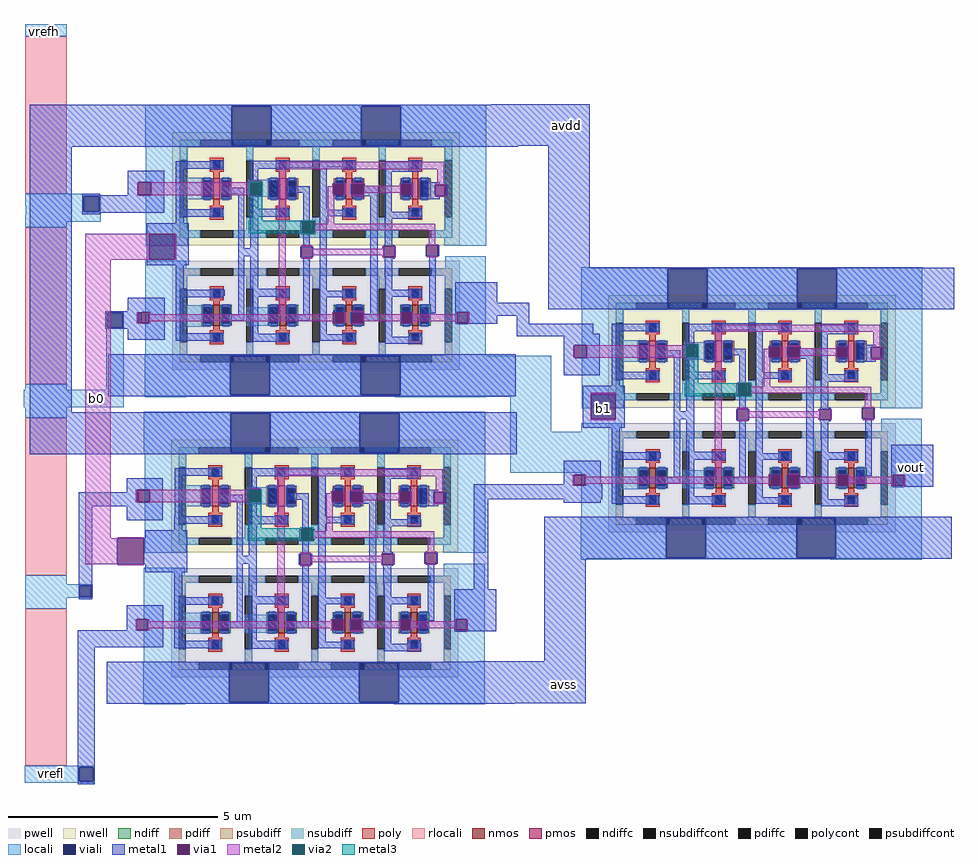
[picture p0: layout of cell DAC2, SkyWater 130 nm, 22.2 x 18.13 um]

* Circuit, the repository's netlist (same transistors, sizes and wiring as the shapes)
* NGSPICE file created from DAC2.ext - technology: sky130A

.subckt sky130_fd_pr__nfet_01v8_PHAC7Z B D S G
X0 S G D B sky130_fd_pr__nfet_01v8 ad=0.145 pd=1.58 as=0.145 ps=1.58 w=0.5 l=0.15
.ends

.subckt sky130_fd_pr__pfet_01v8_2H7JD5 B D S G
X0 S G D B sky130_fd_pr__pfet_01v8 ad=0.145 pd=1.58 as=0.145 ps=1.58 w=0.5 l=0.15
.ends

.subckt sw b_in vin1 vout vin2 avdd avss
XXM1 avss avss XM6/G b_in sky130_fd_pr__nfet_01v8_PHAC7Z
XXM2 avdd avdd XM6/G b_in sky130_fd_pr__pfet_01v8_2H7JD5
XXM3 avss avss XM8/G XM6/G sky130_fd_pr__nfet_01v8_PHAC7Z
XXM4 avdd avdd XM8/G XM6/G sky130_fd_pr__pfet_01v8_2H7JD5
XXM5 avdd vin1 vout XM6/G sky130_fd_pr__pfet_01v8_2H7JD5
XXM6 avss vin2 vout XM6/G sky130_fd_pr__nfet_01v8_PHAC7Z
XXM7 avss vout vin1 XM8/G sky130_fd_pr__nfet_01v8_PHAC7Z
XXM8 avdd vout vin2 XM8/G sky130_fd_pr__pfet_01v8_2H7JD5
.ends

.subckt sky130_fd_pr__res_generic_l1_BU56D2 R1_0 R2_0 R1_1 R2_1 R1_2 R2_2 R1_3 R2_3
R0 R1_1 R2_1 sky130_fd_pr__res_generic_l1 w=1 l=3.75
R1 R1_3 R2_3 sky130_fd_pr__res_generic_l1 w=1 l=3.75
R2 R1_0 R2_0 sky130_fd_pr__res_generic_l1 w=1 l=3.75
R3 R1_2 R2_2 sky130_fd_pr__res_generic_l1 w=1 l=3.75
.ends

.subckt DAC2 avdd avss b0 b1 vrefh vrefl vout
Xsw_1 b0 sw_1/vin1 sw_2/vin1 sw_1/vin2 avdd avss sw
Xsw_2 b1 sw_2/vin1 vout sw_2/vin2 avdd avss sw
Xsky130_fd_pr__res_generic_l1_BU56D2_0 sw_0/vin1 vrefl sw_1/vin2 sw_0/vin1 sw_1/vin1
+ sw_1/vin2 vrefh sw_1/vin1 sky130_fd_pr__res_generic_l1_BU56D2
Xsw_0 b0 sw_0/vin1 sw_2/vin2 vrefl avdd avss sw
.ends

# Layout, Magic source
magic
tech sky130A
magscale 1 2
<< locali >>
rect -390 3190 -190 3246
rect -195 2430 -110 2436
rect -195 2424 -30 2430
rect -195 2388 -110 2424
rect -386 2351 -110 2388
rect -37 2351 -30 2424
rect -386 2303 -30 2351
rect -115 2302 -30 2303
rect -2 1869 82 1875
rect -2 1797 4 1869
rect 76 1797 82 1869
rect -2 1502 82 1797
rect -396 1418 82 1502
rect 1635 1468 2120 1663
rect 1925 1300 2120 1468
rect 1925 1105 2458 1300
rect -388 567 -68 573
rect -388 514 -128 567
rect -75 514 -68 567
rect -388 508 -68 514
rect -392 -300 -58 -294
rect -392 -368 -132 -300
rect -64 -368 -58 -300
rect -392 -374 -58 -368
<< viali >>
rect -110 2351 -37 2424
rect 4 1797 76 1869
rect -128 514 -75 567
rect -132 -368 -64 -300
<< metal1 >>
rect -368 2660 92 2860
rect 1834 2664 2305 2864
rect -368 1394 -168 2660
rect -116 2430 -31 2436
rect -116 2424 186 2430
rect -116 2351 -110 2424
rect -37 2351 186 2424
rect -116 2345 186 2351
rect -116 2339 -31 2345
rect 202 2245 325 2251
rect 202 2116 325 2122
rect -8 1869 167 1875
rect -8 1797 4 1869
rect 76 1797 167 1869
rect 1763 1855 2016 1916
rect 2105 1884 2305 2664
rect -8 1791 167 1797
rect 1955 1817 2016 1855
rect 1955 1756 2322 1817
rect -368 1194 219 1394
rect -134 946 153 1011
rect 1750 979 2365 1049
rect 3746 1042 3942 1238
rect -134 567 -69 946
rect 47 669 53 792
rect 176 669 346 792
rect -134 514 -128 567
rect -75 514 -69 567
rect -134 502 -69 514
rect 1750 442 1820 979
rect -138 273 175 353
rect -138 -300 -58 273
rect 2086 206 2286 894
rect 1762 6 2286 206
rect -138 -368 -132 -300
rect -64 -368 -58 -300
rect -138 -380 -58 -368
<< via1 >>
rect 202 2122 325 2245
rect 2310 1361 2429 1480
rect 53 669 176 792
<< metal2 >>
rect -103 2122 202 2245
rect 325 2122 331 2245
rect -103 792 20 2122
rect 2310 1480 2429 1486
rect 2310 1355 2429 1361
rect 53 792 176 798
rect -103 669 53 792
rect 53 663 176 669
use sky130_fd_pr__res_generic_l1_BU56D2  sky130_fd_pr__res_generic_l1_BU56D2_0
transform 1 0 -290 0 1 1447
box -100 -1797 100 1797
use sw  sw_0
transform 1 0 -703 0 1 1271
box 703 -1271 2660 124
use sw  sw_1
transform 1 0 -697 0 1 2737
box 703 -1271 2660 124
use sw  sw_2
transform 1 0 1383 0 1 1961
box 703 -1271 2660 124
<< labels >>
flabel metal1 s 2194 2760 2194 2760 0 FreeSans 800 0 0 0 avdd
port 0 nsew
flabel metal1 s 2180 94 2180 94 0 FreeSans 800 0 0 0 avss
port 1 nsew
flabel metal2 s -50 1460 -50 1460 0 FreeSans 800 0 0 0 b0
port 2 nsew
flabel via1 2370 1410 2370 1410 0 FreeSans 800 0 0 0 b1
port 3 nsew
flabel locali s -298 3212 -298 3212 0 FreeSans 800 0 0 0 vrefh
port 4 nsew
flabel locali s -270 -330 -270 -330 0 FreeSans 800 0 0 0 vrefl
port 5 nsew
flabel metal1 s 3838 1130 3838 1130 0 FreeSans 1600 0 0 0 vout
port 6 nsew
<< end >>

# cell sky130_fd_pr__res_generic_l1_BU56D2: kit device sky130_fd_pr__res_generic_l1, w 1.0 l 3.75 m 4 nx 1 wmin 0.17 lmin 0.17 class resistor rho 12.8 val 48.0 dummy 0 dw 0.0 term 0.0 snake 0 roverlap 0 doports 1

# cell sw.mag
magic
tech sky130A
magscale 1 2
<< locali >>
rect 880 117 2508 124
rect 880 -71 1294 117
rect 1482 -71 1911 117
rect 2099 -71 2508 117
rect 880 -78 2508 -71
rect 883 -225 1083 -78
rect 883 -327 1194 -225
rect 1372 -316 1505 -234
rect 883 -548 1083 -327
rect 2308 -548 2508 -78
rect 880 -833 1075 -620
rect 880 -935 1191 -833
rect 1364 -930 1512 -843
rect 880 -1068 1075 -935
rect 1255 -1068 2102 -1067
rect 2311 -1068 2506 -599
rect 878 -1073 2506 -1068
rect 878 -1261 1287 -1073
rect 1475 -1261 1908 -1073
rect 2096 -1261 2506 -1073
rect 878 -1269 2506 -1261
rect 880 -1271 1075 -1269
rect 2072 -1271 2506 -1269
<< viali >>
rect 1294 -71 1482 117
rect 1911 -71 2099 117
rect 1287 -1261 1475 -1073
rect 1908 -1261 2096 -1073
<< metal1 >>
rect 722 117 2660 123
rect 722 -71 1294 117
rect 1482 -71 1911 117
rect 2099 -71 2660 117
rect 722 -77 2660 -71
rect 1513 -144 1879 -143
rect 1027 -181 1253 -145
rect 1380 -174 1879 -144
rect 1380 -177 1747 -174
rect 798 -247 970 -192
rect 798 -307 848 -247
rect 908 -307 970 -247
rect 798 -392 970 -307
rect 1027 -374 1064 -181
rect 1380 -182 1561 -177
rect 1247 -301 1352 -272
rect 1026 -410 1247 -374
rect 1026 -441 1064 -410
rect 887 -641 1087 -441
rect 1323 -562 1352 -301
rect 1380 -373 1419 -182
rect 1562 -295 1666 -264
rect 1380 -411 1559 -373
rect 1381 -562 1419 -411
rect 1635 -553 1666 -295
rect 1713 -377 1747 -177
rect 2023 -179 2193 -145
rect 2023 -195 2190 -179
rect 1778 -254 1830 -248
rect 1864 -306 1870 -254
rect 1922 -263 1928 -254
rect 1922 -297 1991 -263
rect 1922 -306 1989 -297
rect 1778 -312 1830 -306
rect 1917 -313 1989 -306
rect 1713 -408 1883 -377
rect 1323 -600 1419 -562
rect 1026 -759 1064 -641
rect 1026 -788 1259 -759
rect 1026 -795 1239 -788
rect 798 -866 973 -798
rect 798 -918 847 -866
rect 899 -918 973 -866
rect 798 -998 973 -918
rect 1026 -967 1062 -795
rect 1323 -878 1352 -600
rect 1253 -907 1352 -878
rect 1381 -755 1419 -600
rect 1619 -605 1625 -553
rect 1677 -605 1683 -553
rect 1381 -793 1570 -755
rect 1026 -1003 1249 -967
rect 1381 -968 1419 -793
rect 1635 -877 1666 -605
rect 1570 -908 1666 -877
rect 1713 -763 1747 -408
rect 1713 -794 1883 -763
rect 1381 -1006 1556 -968
rect 1713 -972 1747 -794
rect 1778 -866 1830 -860
rect 1862 -918 1868 -866
rect 1920 -873 1926 -866
rect 1955 -873 1989 -313
rect 2023 -387 2057 -195
rect 2207 -246 2241 -236
rect 2100 -254 2152 -248
rect 2100 -312 2152 -306
rect 2207 -258 2285 -246
rect 2207 -310 2264 -258
rect 2316 -310 2322 -258
rect 2207 -326 2285 -310
rect 2023 -421 2203 -387
rect 2023 -546 2059 -421
rect 2018 -552 2070 -546
rect 2218 -599 2224 -547
rect 2276 -599 2282 -547
rect 2018 -610 2070 -604
rect 2023 -700 2059 -610
rect 1920 -909 1989 -873
rect 2025 -759 2059 -700
rect 2025 -793 2199 -759
rect 1920 -918 1926 -909
rect 1778 -924 1830 -918
rect 1713 -1003 1871 -972
rect 2025 -983 2059 -793
rect 2235 -840 2266 -599
rect 2102 -866 2154 -860
rect 2198 -871 2266 -840
rect 2360 -866 2560 -722
rect 2102 -924 2154 -918
rect 2360 -918 2368 -866
rect 2420 -918 2560 -866
rect 2360 -922 2560 -918
rect 2368 -924 2420 -922
rect 2025 -1017 2203 -983
rect 703 -1073 2648 -1067
rect 703 -1261 1287 -1073
rect 1475 -1261 1908 -1073
rect 2096 -1261 2648 -1073
rect 703 -1267 2648 -1261
<< via1 >>
rect 848 -307 908 -247
rect 1778 -306 1830 -254
rect 1870 -306 1922 -254
rect 847 -918 899 -866
rect 1625 -605 1677 -553
rect 1778 -918 1830 -866
rect 1868 -918 1920 -866
rect 2100 -306 2152 -254
rect 2264 -310 2316 -258
rect 2018 -604 2070 -552
rect 2224 -599 2276 -547
rect 2102 -918 2154 -866
rect 2368 -918 2420 -866
<< metal2 >>
rect 1517 -183 2307 -149
rect 1381 -247 1437 -240
rect 842 -307 848 -247
rect 908 -249 1439 -247
rect 908 -305 1381 -249
rect 1437 -305 1439 -249
rect 908 -307 1439 -305
rect 1381 -314 1437 -307
rect 841 -918 847 -866
rect 899 -875 905 -866
rect 1517 -875 1551 -183
rect 1870 -254 1922 -248
rect 2273 -252 2307 -183
rect 1772 -265 1778 -254
rect 1751 -306 1778 -265
rect 1830 -306 1836 -254
rect 2094 -263 2100 -254
rect 1922 -297 2100 -263
rect 2094 -306 2100 -297
rect 2152 -306 2158 -254
rect 2264 -258 2316 -252
rect 1621 -488 1630 -432
rect 1686 -445 1695 -432
rect 1751 -445 1782 -306
rect 1870 -312 1922 -306
rect 2264 -316 2316 -310
rect 1686 -476 2265 -445
rect 1686 -488 1695 -476
rect 2234 -541 2265 -476
rect 2224 -547 2276 -541
rect 1625 -553 1677 -547
rect 2012 -563 2018 -552
rect 1677 -594 2018 -563
rect 2012 -604 2018 -594
rect 2070 -604 2076 -552
rect 2224 -605 2276 -599
rect 1625 -611 1677 -605
rect 1868 -866 1920 -860
rect 1772 -875 1778 -866
rect 899 -909 1778 -875
rect 899 -918 905 -909
rect 1772 -918 1778 -909
rect 1830 -918 1836 -866
rect 2096 -875 2102 -866
rect 1920 -909 2102 -875
rect 2096 -918 2102 -909
rect 2154 -875 2160 -866
rect 2362 -875 2368 -866
rect 2154 -909 2368 -875
rect 2154 -918 2160 -909
rect 2362 -918 2368 -909
rect 2420 -918 2426 -866
rect 1868 -924 1920 -918
<< via2 >>
rect 1381 -305 1437 -249
rect 1630 -488 1686 -432
<< metal3 >>
rect 1376 -249 1442 -244
rect 1376 -305 1381 -249
rect 1437 -305 1442 -249
rect 1376 -310 1442 -305
rect 1379 -430 1439 -310
rect 1625 -430 1691 -427
rect 1375 -432 1691 -430
rect 1375 -488 1630 -432
rect 1686 -488 1691 -432
rect 1375 -490 1691 -488
rect 1625 -493 1691 -490
use sky130_fd_pr__nfet_01v8_PHAC7Z  XM1
transform 1 0 1221 0 1 -881
box -211 -260 211 260
use sky130_fd_pr__pfet_01v8_2H7JD5  XM2
transform 1 0 1221 0 1 -277
box -211 -269 211 269
use sky130_fd_pr__nfet_01v8_PHAC7Z  XM3
transform 1 0 1537 0 1 -881
box -211 -260 211 260
use sky130_fd_pr__pfet_01v8_2H7JD5  XM4
transform 1 0 1537 0 1 -277
box -211 -269 211 269
use sky130_fd_pr__pfet_01v8_2H7JD5  XM5
transform 1 0 1853 0 1 -277
box -211 -269 211 269
use sky130_fd_pr__nfet_01v8_PHAC7Z  XM6
transform 1 0 1853 0 1 -881
box -211 -260 211 260
use sky130_fd_pr__nfet_01v8_PHAC7Z  XM7
transform 1 0 2169 0 1 -881
box -211 -260 211 260
use sky130_fd_pr__pfet_01v8_2H7JD5  XM8
transform 1 0 2169 0 1 -277
box -211 -269 211 269
<< labels >>
flabel metal1 880 -77 1080 123 0 FreeSans 1600 0 0 0 avdd
port 0 nsew
flabel metal1 880 -1267 1080 -1067 0 FreeSans 1600 0 0 0 avss
port 2 nsew
flabel metal1 887 -641 1087 -441 0 FreeSans 1600 0 0 0 b_in
port 1 nsew
flabel metal1 2360 -922 2560 -722 0 FreeSans 1600 0 0 0 vout
port 4 nsew
flabel metal1 798 -998 973 -798 0 FreeSans 1600 0 0 0 vin2
port 5 nsew
flabel metal1 798 -392 970 -192 0 FreeSans 1600 0 0 0 vin1
port 3 nsew
<< end >>

# cell sky130_fd_pr__nfet_01v8_PHAC7Z: kit device sky130_fd_pr__nfet_01v8, w 0.5 l 0.15 m 1 nf 1 diffcov 100 polycov 100 guard 1 glc 1 grc 1 gtc 1 gbc 1 tbcov 100 rlcov 100 topc 1 botc 1 poverlap 0 doverlap 1 lmin 0.15 wmin 0.42 class mosfet compatible {sky130_fd_pr__nfet_01v8 sky130_fd_pr__nfet_01v8_lvt sky130_fd_bs_flash__special_sonosfet_star sky130_fd_pr__nfet_g5v0d10v5 sky130_fd_pr__nfet_05v0_nvt sky130_fd_pr__nfet_03v3_nvt} full_metal 1 conn_gates 0 viasrc 100 viadrn 100 viagate 100 viagb 0 viagr 0 viagl 0 viagt 0 doports 1

# cell sky130_fd_pr__pfet_01v8_2H7JD5: kit device sky130_fd_pr__pfet_01v8, w 0.5 l 0.15 m 1 nf 1 diffcov 100 polycov 100 guard 1 glc 1 grc 1 gtc 1 gbc 1 tbcov 100 rlcov 100 topc 1 botc 1 poverlap 0 doverlap 1 lmin 0.15 wmin 0.42 class mosfet compatible {sky130_fd_pr__pfet_01v8 sky130_fd_pr__pfet_01v8_lvt sky130_fd_pr__pfet_01v8_hvt sky130_fd_pr__pfet_g5v0d10v5} full_metal 1 conn_gates 0 viasrc 100 viadrn 100 viagate 100 viagb 0 viagr 0 viagl 0 viagt 0 doports 1
